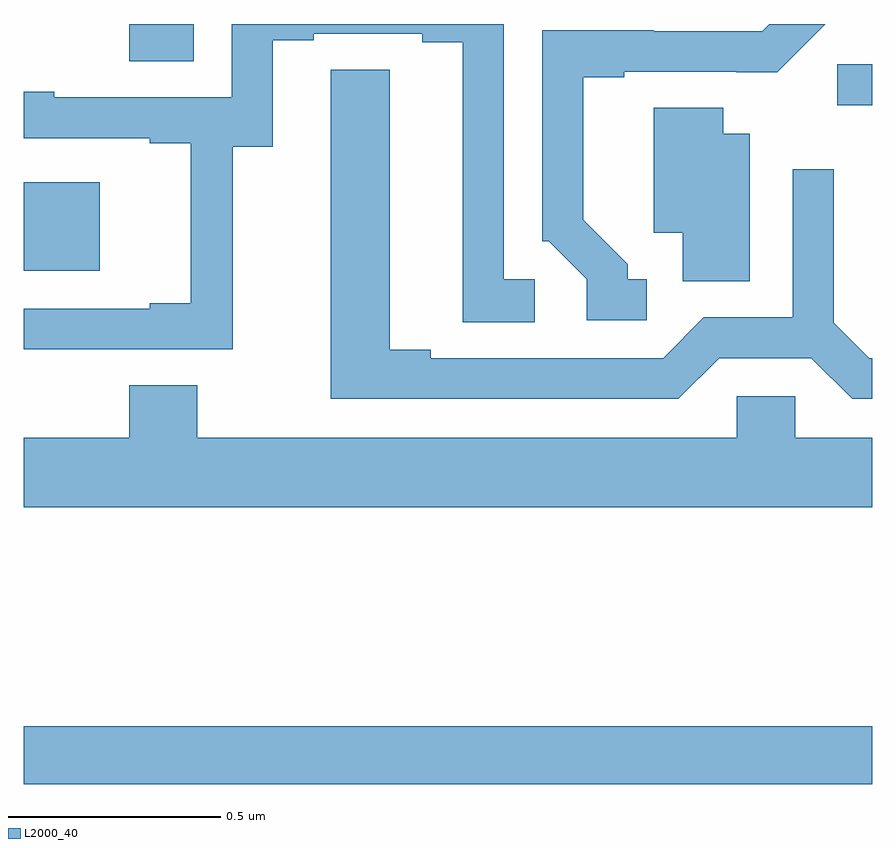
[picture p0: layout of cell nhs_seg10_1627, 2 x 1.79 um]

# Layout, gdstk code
import gdstk
lib = gdstk.Library(unit=1e-6, precision=1e-09)
def R(c, l, rs):  # rectangles x0, y0, x1, y1
    for r in rs: c.add(gdstk.rectangle(r[:2], r[2:], *l))
def P(c, l, *ps):  # polygons
    for p in ps: c.add(gdstk.Polygon(p, *l))
L2000_40 = (2000, 40)

nhs_seg10_1627 = lib.new_cell('nhs_seg10_1627')
R(nhs_seg10_1627, L2000_40, [(131,1255.708,133,1255.844), (131,1256.918,131.179,1257.127), (132.918,1257.308,133,1257.405), (131.249,1257.412,131.401,1257.5)])
P(nhs_seg10_1627, L2000_40, [(132.469,1256.898),(132.424,1256.898),(132.424,1256.933),(132.319,1257.038),(132.319,1257.375),(132.415,1257.375),(132.415,1257.387),(132.68,1257.387),(132.68,1257.386),(132.776,1257.386),(132.89,1257.5),(132.758,1257.5),(132.741,1257.483),(132.485,1257.483),(132.485,1257.485),(132.222,1257.485),(132.222,1256.988),(132.237,1256.988),(132.327,1256.898),(132.327,1256.802),(132.469,1256.802)],
  [(131.493,1257.211),(131.587,1257.211),(131.587,1257.462),(131.683,1257.462),(131.683,1257.477),(131.939,1257.477),(131.939,1257.457),(132.035,1257.457),(132.035,1256.797),(132.205,1256.797),(132.205,1256.898),(132.132,1256.898),(132.132,1257.5),(131.49,1257.5),(131.49,1257.327),(131.071,1257.327),(131.071,1257.34),(131,1257.34),(131,1257.231),(131.297,1257.231),(131.297,1257.219),(131.393,1257.219),(131.393,1256.842),(131.297,1256.842),(131.297,1256.829),(131,1256.829),(131,1256.733),(131.493,1256.733)],
  [(132.639,1256.712),(132.857,1256.712),(132.953,1256.616),(133,1256.616),(133,1256.712),(132.993,1256.712),(132.909,1256.796),(132.909,1257.157),(132.813,1257.157),(132.813,1256.808),(132.603,1256.808),(132.507,1256.712),(131.959,1256.712),(131.959,1256.732),(131.863,1256.732),(131.863,1257.392),(131.724,1257.392),(131.724,1257.284),(131.723,1257.284),(131.723,1256.616),(132.543,1256.616)],
  [(132.712,1257.241),(132.649,1257.241),(132.649,1257.302),(132.485,1257.302),(132.485,1257.008),(132.554,1257.008),(132.554,1256.893),(132.712,1256.893)],
  [(133,1256.524),(132.819,1256.524),(132.819,1256.622),(132.681,1256.622),(132.681,1256.524),(131.409,1256.524),(131.409,1256.648),(131.249,1256.648),(131.249,1256.524),(131,1256.524),(131,1256.36),(133,1256.36)])

lib.write_gds('nhs_seg10_1627.gds')
